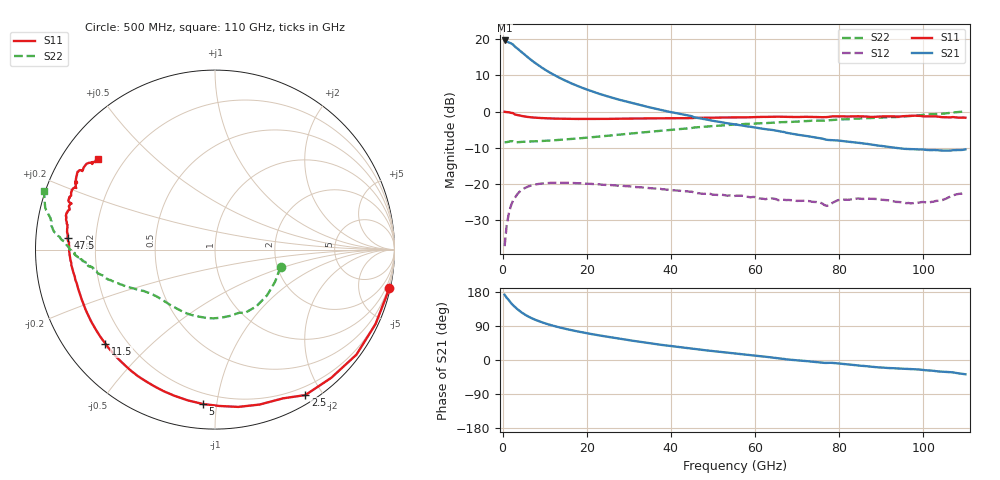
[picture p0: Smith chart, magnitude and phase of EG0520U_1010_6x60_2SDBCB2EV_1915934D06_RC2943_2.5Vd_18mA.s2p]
!File name = EG0520U_1010_6x60_2SDBCB2EV_1915934D06_RC2943_2.5Vd_18mA.s2p
!Base file name = EG0520U_1010_6x60_2SDBCB2EV_1915934D06_RC2943
!Date = 8/23/2019
!Time = 1:01 PM
!Test duration(min) = 0.15
!Test = S-Parameters
!MPTS version = 8.91.5
!State File = C:\Data\PNA\20190821205423\S-Parameters_2019-08-23.sta
!Cal File =
!ComputerName = CMPE-LAB-6
!Comments =
!Attenuation = 0
!Z0 = 50
!Input Power(dBm) = -13.00
!Device ID = EG0520U_1010_6x60_2SDBCB2EV
!Row = 29
!Column = 43
!Technology = QPHT09
!Lot/Wafer = 1915934D06
!Gate Size = 360
!Mask = EG0520
!Cal Standards = GaAs BCB
!Cal Kit = EG2306
!Job Number = 20190821205423
!Device Type = FET
!set_Vg(v) = -1.500
!set_Vd(v) = 2.500
!set_Vd(mA) = 18.000
!file_name = EG0520U_1010_6x60_2SDBCB2EV_1915934D06_RC2943_2.5Vd_18mA.s2p
!Vd(V) = 2.500
!Vd(mA) = 17.854
!Vg(V) = -0.601
!Vg(mA) = -0.002
# GHz  S  DB  R  50
!%	Freq(GHz)  s11(dB)  s11(deg)  s21(dB)  s21(deg)  s12(dB)  s12(deg)  s22(dB)  s22(deg)
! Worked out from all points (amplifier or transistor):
!   220 points, 500 MHz to 110 GHz, reference 50 ohm
!   highest |S21| = 19.7 dB at 500 MHz (marker M1)
!   |S21| within 3 dB of that: start of sweep to 4.309 GHz
!   unconditionally stable (mu >= 1): 39.5 GHz to 97.04 GHz
!   at 18.5 GHz: K = 0.46, MSG = 13.3 dB, |S12| = -19.8 dB
!   at 55.5 GHz: K = 1.33, MAG = 6.4 dB, |S12| = -23.2 dB
!   at 110 GHz: K = -0.94, MSG = 5.8 dB, |S12| = -22.0 dB
!   S11 on the Smith chart (normalised r, x): 500 MHz: 0.20, -9.09; 2.5 GHz: 0.10, -1.79; 5 GHz: 0.14, -0.91; 11.5 GHz: 0.12, -0.37; 47.5 GHz: 0.10, +0.04; 110 GHz: 0.11, +0.34
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0.5  -0.04 -12.5  19.66 172.2  -37.13 81.8  -8.45 -14.6
1  -0.12 -24.9  19.37 164.1  -31.31 75.1  -8.41 -28.1
2  -0.32 -47.8  18.87 150.6  -25.98 61.8  -8.15 -54.0
2.5  -0.41 -58.2  18.52 144.7  -24.53 56.3  -8.18 -64.5
3  -0.81 -65.4  17.90 139.5  -23.65 52.0  -8.48 -69.1
3.5  -0.93 -74.0  17.46 134.5  -22.81 47.5  -8.44 -77.2
4.5  -1.19 -88.4  16.46 125.8  -21.67 39.8  -8.34 -91.0
5  -1.28 -94.6  15.97 122.2  -21.28 36.6  -8.31 -96.7
6  -1.46 -105.4  15.02 115.5  -20.71 31.2  -8.28 -106.2
7.5  -1.64 -118.0  13.65 107.4  -20.20 24.7  -8.18 -116.8
9.5  -1.78 -130.1  12.04 99.0  -19.81 18.2  -8.09 -125.8
11.5  -1.88 -139.3  10.62 92.0  -19.66 13.2  -7.96 -132.5
14.5  -1.96 -149.1  8.80 83.4  -19.64 7.6  -7.71 -139.2
19  -2.02 -158.9  6.56 72.9  -19.79 1.5  -7.28 -145.3
26.5  -1.98 -169.0  3.69 58.4  -20.33 -4.9  -6.47 -151.5
37  -1.82 -177.9  0.65 41.1  -21.24 -10.8  -5.34 -158.0
47.5  -1.70 175.5  -1.97 26.7  -22.66 -13.5  -4.18 -164.3
55.5  -1.60 171.2  -3.56 17.1  -23.20 -15.0  -3.52 -168.7
73.5  -1.46 162.7  -6.95 -4.3  -24.85 -20.5  -2.49 -176.0
92  -1.32 153.9  -9.76 -21.2  -24.55 -30.7  -1.52 177.1
101  -1.31 149.2  -10.59 -27.3  -25.09 -28.7  -0.78 172.3
110  -1.68 142.3  -10.41 -37.7  -22.04 -32.8  0.09 161.0
